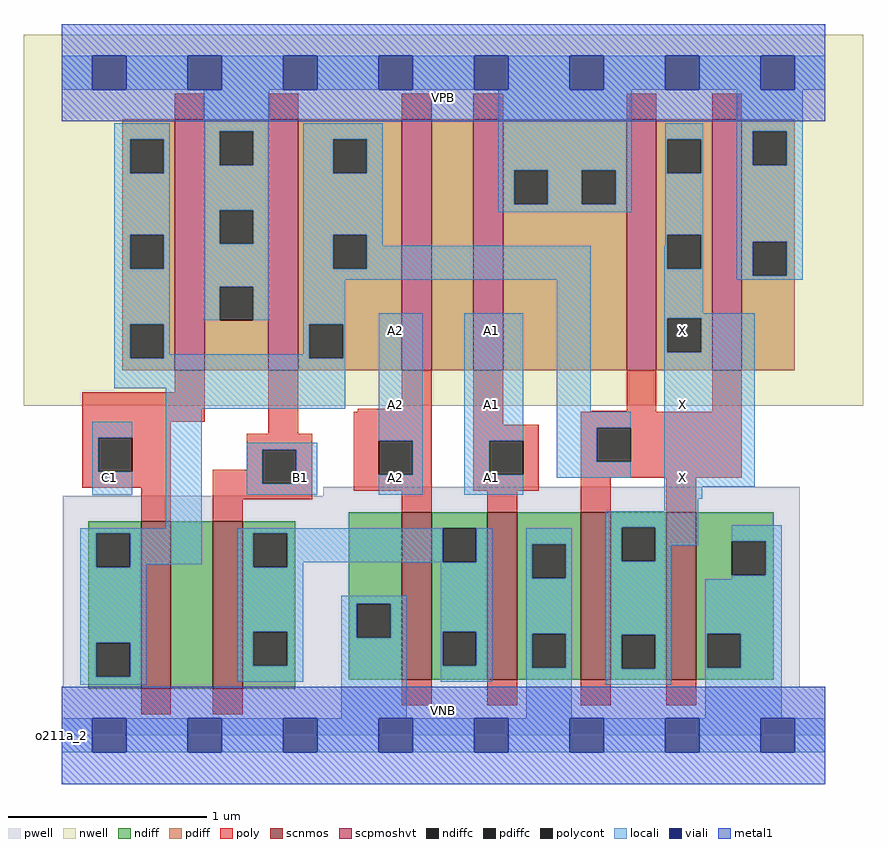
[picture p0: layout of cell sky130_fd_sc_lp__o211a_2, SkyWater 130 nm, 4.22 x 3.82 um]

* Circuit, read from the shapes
.subckt sky130_fd_sc_lp__o211a_2 A1 A2 B1 C1 VGND VNB VPB VPWR X
XM1 n1 C1 n2 VNB sky130_fd_pr__nfet_01v8 w=0.84 l=0.15
XM2 n3 B1 n1 VNB sky130_fd_pr__nfet_01v8 w=0.84 l=0.15
XM3 n3 A2 VGND VNB sky130_fd_pr__nfet_01v8 w=0.84 l=0.15
XM4 VGND A1 n3 VNB sky130_fd_pr__nfet_01v8 w=0.84 l=0.15
XM5 X n2 VGND VNB sky130_fd_pr__nfet_01v8 w=0.84 l=0.15 m=2
XM6 VPWR C1 n2 VPB sky130_fd_pr__pfet_01v8_hvt w=1.26 l=0.15
XM7 n2 B1 VPWR VPB sky130_fd_pr__pfet_01v8_hvt w=1.26 l=0.15
XM8 n4 A2 n2 VPB sky130_fd_pr__pfet_01v8_hvt w=1.26 l=0.15
XM9 VPWR A1 n4 VPB sky130_fd_pr__pfet_01v8_hvt w=1.26 l=0.15
XM10 X n2 VPWR VPB sky130_fd_pr__pfet_01v8_hvt w=1.26 l=0.15 m=2
.ends

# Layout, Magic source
magic
tech sky130A
magscale 1 2
<< nwell >>
rect -38 331 806 704
<< pwell >>
rect 263 241 742 250
rect 1 49 742 241
rect 0 0 768 49
<< scnmos >>
rect 80 47 110 215
rect 152 47 182 215
rect 342 56 372 224
rect 428 56 458 224
rect 522 56 552 224
rect 608 56 638 224
<< scpmoshvt >>
rect 114 367 144 619
rect 208 367 238 619
rect 342 367 372 619
rect 414 367 444 619
rect 568 367 598 619
rect 654 367 684 619
<< ndiff >>
rect 27 203 80 215
rect 27 169 35 203
rect 69 169 80 203
rect 27 93 80 169
rect 27 59 35 93
rect 69 59 80 93
rect 27 47 80 59
rect 110 47 152 215
rect 182 203 235 215
rect 182 169 193 203
rect 227 169 235 203
rect 182 104 235 169
rect 182 70 193 104
rect 227 70 235 104
rect 182 47 235 70
rect 289 132 342 224
rect 289 98 297 132
rect 331 98 342 132
rect 289 56 342 98
rect 372 208 428 224
rect 372 174 383 208
rect 417 174 428 208
rect 372 104 428 174
rect 372 70 383 104
rect 417 70 428 104
rect 372 56 428 70
rect 458 192 522 224
rect 458 158 473 192
rect 507 158 522 192
rect 458 102 522 158
rect 458 68 473 102
rect 507 68 522 102
rect 458 56 522 68
rect 552 209 608 224
rect 552 175 563 209
rect 597 175 608 209
rect 552 101 608 175
rect 552 67 563 101
rect 597 67 608 101
rect 552 56 608 67
rect 638 195 716 224
rect 638 161 674 195
rect 708 161 716 195
rect 638 102 716 161
rect 638 68 649 102
rect 683 68 716 102
rect 638 56 716 68
<< pdiff >>
rect 61 599 114 619
rect 61 565 69 599
rect 103 565 114 599
rect 61 503 114 565
rect 61 469 69 503
rect 103 469 114 503
rect 61 413 114 469
rect 61 379 69 413
rect 103 379 114 413
rect 61 367 114 379
rect 144 607 208 619
rect 144 573 159 607
rect 193 573 208 607
rect 144 528 208 573
rect 144 494 159 528
rect 193 494 208 528
rect 144 451 208 494
rect 144 417 159 451
rect 193 417 208 451
rect 144 367 208 417
rect 238 599 342 619
rect 238 565 273 599
rect 307 565 342 599
rect 238 503 342 565
rect 238 469 273 503
rect 307 469 342 503
rect 238 413 342 469
rect 238 379 249 413
rect 283 379 342 413
rect 238 367 342 379
rect 372 367 414 619
rect 444 568 568 619
rect 444 534 455 568
rect 489 534 523 568
rect 557 534 568 568
rect 444 367 568 534
rect 598 599 654 619
rect 598 565 609 599
rect 643 565 654 599
rect 598 503 654 565
rect 598 469 609 503
rect 643 469 654 503
rect 598 419 654 469
rect 598 385 609 419
rect 643 385 654 419
rect 598 367 654 385
rect 684 607 737 619
rect 684 573 695 607
rect 729 573 737 607
rect 684 496 737 573
rect 684 462 695 496
rect 729 462 737 496
rect 684 367 737 462
<< ndiffc >>
rect 35 169 69 203
rect 35 59 69 93
rect 193 169 227 203
rect 193 70 227 104
rect 297 98 331 132
rect 383 174 417 208
rect 383 70 417 104
rect 473 158 507 192
rect 473 68 507 102
rect 563 175 597 209
rect 563 67 597 101
rect 674 161 708 195
rect 649 68 683 102
<< pdiffc >>
rect 69 565 103 599
rect 69 469 103 503
rect 69 379 103 413
rect 159 573 193 607
rect 159 494 193 528
rect 159 417 193 451
rect 273 565 307 599
rect 273 469 307 503
rect 249 379 283 413
rect 455 534 489 568
rect 523 534 557 568
rect 609 565 643 599
rect 609 469 643 503
rect 609 385 643 419
rect 695 573 729 607
rect 695 462 729 496
<< poly >>
rect 114 619 144 645
rect 208 619 238 645
rect 342 619 372 645
rect 414 619 444 645
rect 568 619 598 645
rect 654 619 684 645
rect 114 345 144 367
rect 21 315 144 345
rect 21 299 110 315
rect 208 303 238 367
rect 342 328 372 367
rect 298 325 372 328
rect 21 265 37 299
rect 71 265 110 299
rect 186 287 252 303
rect 186 267 202 287
rect 21 249 110 265
rect 80 215 110 249
rect 152 253 202 267
rect 236 253 252 287
rect 152 237 252 253
rect 294 296 372 325
rect 294 262 319 296
rect 353 262 372 296
rect 294 246 372 262
rect 414 312 444 367
rect 568 326 598 367
rect 533 325 598 326
rect 654 325 684 367
rect 414 296 480 312
rect 414 262 430 296
rect 464 262 480 296
rect 414 246 480 262
rect 522 309 684 325
rect 522 275 538 309
rect 572 275 684 309
rect 522 259 684 275
rect 152 215 182 237
rect 342 224 372 246
rect 428 224 458 246
rect 522 224 552 259
rect 608 224 638 259
rect 80 21 110 47
rect 152 21 182 47
rect 342 30 372 56
rect 428 30 458 56
rect 522 30 552 56
rect 608 30 638 56
<< polycont >>
rect 37 265 71 299
rect 202 253 236 287
rect 319 262 353 296
rect 430 262 464 296
rect 538 275 572 309
<< locali >>
rect 0 649 31 683
rect 65 649 127 683
rect 161 649 223 683
rect 257 649 319 683
rect 353 649 415 683
rect 449 649 511 683
rect 545 649 607 683
rect 641 649 703 683
rect 737 649 768 683
rect 53 599 109 615
rect 53 565 69 599
rect 103 565 109 599
rect 53 503 109 565
rect 53 469 69 503
rect 103 469 109 503
rect 53 413 109 469
rect 143 607 209 649
rect 143 573 159 607
rect 193 573 209 607
rect 143 528 209 573
rect 143 494 159 528
rect 193 494 209 528
rect 143 451 209 494
rect 143 417 159 451
rect 193 417 209 451
rect 243 599 323 615
rect 243 565 273 599
rect 307 565 323 599
rect 243 503 323 565
rect 439 568 573 649
rect 439 534 455 568
rect 489 534 523 568
rect 557 534 573 568
rect 439 526 573 534
rect 607 599 645 615
rect 607 565 609 599
rect 643 565 645 599
rect 243 469 273 503
rect 307 492 323 503
rect 607 503 645 565
rect 607 492 609 503
rect 307 469 532 492
rect 243 458 532 469
rect 53 379 69 413
rect 103 383 109 413
rect 243 413 285 458
rect 243 383 249 413
rect 103 379 249 383
rect 283 379 285 413
rect 53 349 285 379
rect 105 328 285 349
rect 31 299 71 315
rect 31 265 37 299
rect 31 242 71 265
rect 105 208 141 328
rect 319 296 363 424
rect 186 287 257 294
rect 186 253 202 287
rect 236 253 257 287
rect 186 242 257 253
rect 353 262 363 296
rect 319 242 363 262
rect 405 296 464 424
rect 405 262 430 296
rect 405 242 464 262
rect 498 325 532 458
rect 606 469 609 492
rect 643 469 645 503
rect 606 424 645 469
rect 679 607 745 649
rect 679 573 695 607
rect 729 573 745 607
rect 679 496 745 573
rect 679 462 695 496
rect 729 462 745 496
rect 679 458 745 462
rect 606 419 697 424
rect 606 385 609 419
rect 643 385 697 419
rect 498 309 572 325
rect 498 275 538 309
rect 498 259 572 275
rect 606 250 697 385
rect 606 238 644 250
rect 606 225 640 238
rect 547 209 640 225
rect 19 203 141 208
rect 19 169 35 203
rect 69 172 141 203
rect 177 203 383 208
rect 69 169 85 172
rect 19 93 85 169
rect 19 59 35 93
rect 69 59 85 93
rect 19 51 85 59
rect 177 169 193 203
rect 227 174 383 203
rect 417 174 433 208
rect 227 169 243 174
rect 177 104 243 169
rect 177 70 193 104
rect 227 70 243 104
rect 177 54 243 70
rect 281 132 347 140
rect 281 98 297 132
rect 331 98 347 132
rect 281 17 347 98
rect 381 104 433 174
rect 381 70 383 104
rect 417 70 433 104
rect 381 54 433 70
rect 467 192 513 208
rect 467 158 473 192
rect 507 158 513 192
rect 467 102 513 158
rect 467 68 473 102
rect 507 68 513 102
rect 467 17 513 68
rect 547 175 563 209
rect 597 191 640 209
rect 674 195 724 211
rect 597 175 613 191
rect 547 101 613 175
rect 708 161 724 195
rect 674 157 724 161
rect 547 67 563 101
rect 597 67 613 101
rect 547 51 613 67
rect 647 102 724 157
rect 647 68 649 102
rect 683 68 724 102
rect 647 17 724 68
rect 0 -17 31 17
rect 65 -17 127 17
rect 161 -17 223 17
rect 257 -17 319 17
rect 353 -17 415 17
rect 449 -17 511 17
rect 545 -17 607 17
rect 641 -17 703 17
rect 737 -17 768 17
<< viali >>
rect 31 649 65 683
rect 127 649 161 683
rect 223 649 257 683
rect 319 649 353 683
rect 415 649 449 683
rect 511 649 545 683
rect 607 649 641 683
rect 703 649 737 683
rect 31 -17 65 17
rect 127 -17 161 17
rect 223 -17 257 17
rect 319 -17 353 17
rect 415 -17 449 17
rect 511 -17 545 17
rect 607 -17 641 17
rect 703 -17 737 17
<< metal1 >>
rect 0 683 768 715
rect 0 649 31 683
rect 65 649 127 683
rect 161 649 223 683
rect 257 649 319 683
rect 353 649 415 683
rect 449 649 511 683
rect 545 649 607 683
rect 641 649 703 683
rect 737 649 768 683
rect 0 617 768 649
rect 0 17 768 49
rect 0 -17 31 17
rect 65 -17 127 17
rect 161 -17 223 17
rect 257 -17 319 17
rect 353 -17 415 17
rect 449 -17 511 17
rect 545 -17 607 17
rect 641 -17 703 17
rect 737 -17 768 17
rect 0 -49 768 -17
<< labels >>
flabel pwell s 0 0 768 49 0 FreeSans 200 0 0 0 VNB
port 6 nsew ground bidirectional
flabel nwell s 0 617 768 666 0 FreeSans 200 0 0 0 VPB
port 7 nsew power bidirectional
rlabel comment s 0 0 0 0 4 o211a_2
flabel metal1 s 0 617 768 666 0 FreeSans 340 0 0 0 VPWR
port 8 nsew power bidirectional
flabel metal1 s 0 0 768 49 0 FreeSans 340 0 0 0 VGND
port 5 nsew ground bidirectional
flabel locali s 607 242 641 276 0 FreeSans 340 0 0 0 X
port 9 nsew signal output
flabel locali s 607 316 641 350 0 FreeSans 340 0 0 0 X
port 9 nsew signal output
flabel locali s 607 390 641 424 0 FreeSans 340 0 0 0 X
port 9 nsew signal output
flabel locali s 415 242 449 276 0 FreeSans 340 0 0 0 A1
port 1 nsew signal input
flabel locali s 415 316 449 350 0 FreeSans 340 0 0 0 A1
port 1 nsew signal input
flabel locali s 415 390 449 424 0 FreeSans 340 0 0 0 A1
port 1 nsew signal input
flabel locali s 319 242 353 276 0 FreeSans 340 0 0 0 A2
port 2 nsew signal input
flabel locali s 319 316 353 350 0 FreeSans 340 0 0 0 A2
port 2 nsew signal input
flabel locali s 319 390 353 424 0 FreeSans 340 0 0 0 A2
port 2 nsew signal input
flabel locali s 223 242 257 276 0 FreeSans 340 0 0 0 B1
port 3 nsew signal input
flabel locali s 31 242 65 276 0 FreeSans 340 0 0 0 C1
port 4 nsew signal input
<< properties >>
string LEFsite unit
string LEFclass CORE
string FIXED_BBOX 0 0 768 666
string GDS_FILE $PDKPATH/libs.ref/sky130_fd_sc_lp/gds/sky130_fd_sc_lp.gds
string LEFsymmetry X Y R90
string GDS_END 1686014
string GDS_START 1678326
<< end >>
